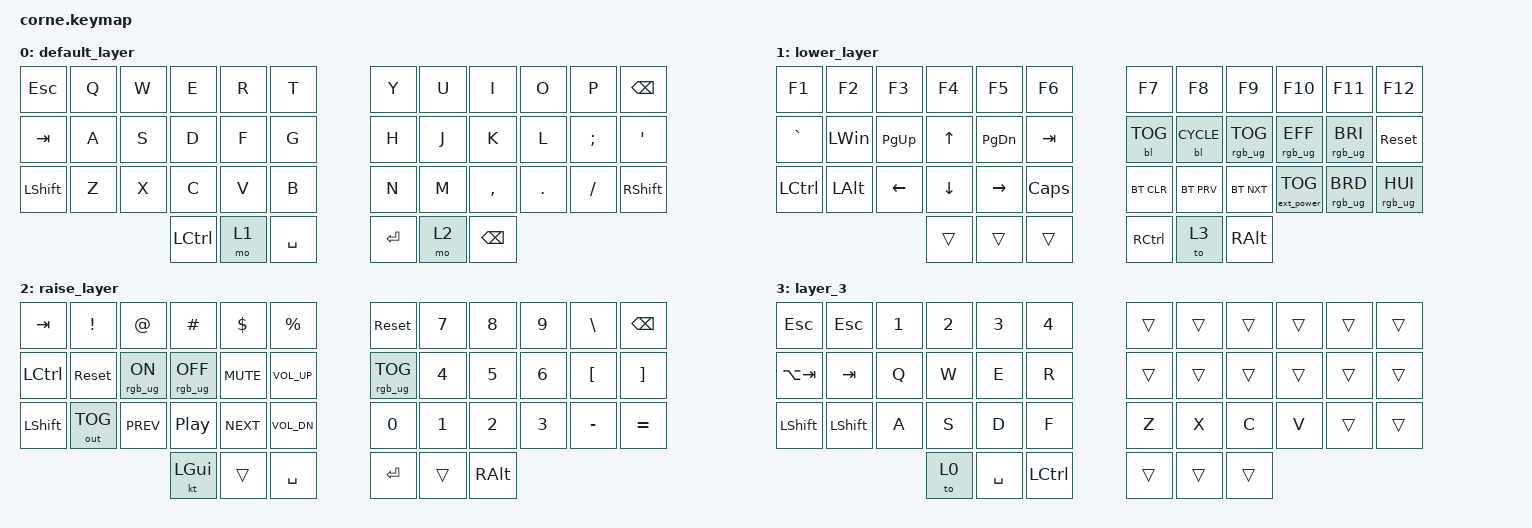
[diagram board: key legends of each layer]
/*
 * Copyright (c) 2020 The ZMK Contributors
 *
 * SPDX-License-Identifier: MIT
 */

#include <dt-bindings/led/led.h>
#include <behaviors.dtsi>
#include <dt-bindings/zmk/backlight.h>
#include <dt-bindings/zmk/bt.h>
#include <dt-bindings/zmk/ext_power.h>
#include <dt-bindings/zmk/keys.h>
#include <dt-bindings/zmk/keys.h>
#include <dt-bindings/zmk/outputs.h>
#include <dt-bindings/zmk/rgb.h>

&led_strip { chain-length = <27>; };

/ {
    keymap {
        compatible = "zmk,keymap";

        default_layer {
            // -----------------------------------------------------------------------------------------
            // |  TAB |  Q  |  W  |  E  |  R  |  T  |   |  Y  |  U   |  I  |  O  |  P  | BKSP |
            // | CTRL |  A  |  S  |  D  |  F  |  G  |   |  H  |  J   |  K  |  L  |  ;  |  '   |
            // | SHFT |  Z  |  X  |  C  |  V  |  B  |   |  N  |  M   |  ,  |  .  |  /  | ESC  |
            //                    | GUI | LWR | SPC |   | ENT | RSE  | ALT |

            bindings = <
&kp ESCAPE  &kp Q  &kp W  &kp E      &kp R  &kp T        &kp Y    &kp U  &kp I          &kp O    &kp P     &kp BSPC
&kp TAB     &kp A  &kp S  &kp D      &kp F  &kp G        &kp H    &kp J  &kp K          &kp L    &kp SEMI  &kp SQT
&kp LSHFT   &kp Z  &kp X  &kp C      &kp V  &kp B        &kp N    &kp M  &kp COMMA      &kp DOT  &kp FSLH  &kp RSHFT
                          &kp LCTRL  &mo 1  &kp SPACE    &kp RET  &mo 2  &kp BACKSPACE
            >;
        };

        lower_layer {
            // -----------------------------------------------------------------------------------------
            // |  TAB |  1  |  2  |  3  |  4  |  5  |   |  6  |  7  |  8  |  9  |  0  | BKSP |
            // | BTCLR| BT1 | BT2 | BT3 | BT4 | BT5 |   | LFT | DWN |  UP | RGT |     |      |
            // | SHFT |     |     |     |     |     |   |     |     |     |     |     |      |
            //                    | GUI |     | SPC |   | ENT |     | ALT |

            bindings = <
&kp F1     &kp F2        &kp F3          &kp F4          &kp F5           &kp F6          &kp F7      &kp F8        &kp F9           &kp F10            &kp F11          &kp F12
&kp GRAVE  &kp LEFT_WIN  &kp PAGE_UP     &kp UP_ARROW    &kp PAGE_DOWN    &kp TAB         &bl BL_TOG  &bl BL_CYCLE  &rgb_ug RGB_TOG  &rgb_ug RGB_EFF    &rgb_ug RGB_BRI  &sys_reset
&kp LCTRL  &kp LEFT_ALT  &kp LEFT_ARROW  &kp DOWN_ARROW  &kp RIGHT_ARROW  &kp CAPSLOCK    &bt BT_CLR  &bt BT_PRV    &bt BT_NXT       &ext_power EP_TOG  &rgb_ug RGB_BRD  &rgb_ug RGB_HUI
                                         &trans          &trans           &trans          &kp RCTRL   &to 3         &kp RALT
            >;
        };

        raise_layer {
            // -----------------------------------------------------------------------------------------
            // |  TAB |  !  |  @  |  #  |  $  |  %  |   |  ^  |  &  |  *  |  (  |  )  | BKSP |
            // | CTRL |     |     |     |     |     |   |  -  |  =  |  [  |  ]  |  \  |  `   |
            // | SHFT |     |     |     |     |     |   |  _  |  +  |  {  |  }  | "|" |  ~   |
            //                    | GUI |     | SPC |   | ENT |     | ALT |

            bindings = <
&kp TAB    &kp EXCL      &kp AT          &kp HASH          &kp DLLR    &kp PRCNT          &sys_reset       &kp N7        &kp N8        &kp N9        &kp BACKSLASH     &kp BSPC
&kp LCTRL  &sys_reset    &rgb_ug RGB_ON  &rgb_ug RGB_OFF   &kp C_MUTE  &kp C_VOLUME_UP    &rgb_ug RGB_TOG  &kp NUMBER_4  &kp N5        &kp NUMBER_6  &kp LEFT_BRACKET  &kp RIGHT_BRACKET
&kp LSHFT  &out OUT_TOG  &kp C_PREV      &kp C_PLAY_PAUSE  &kp C_NEXT  &kp C_VOL_DN       &kp NUMBER_0     &kp NUMBER_1  &kp NUMBER_2  &kp NUMBER_3  &kp MINUS         &kp EQUAL
                                         &kt LGUI          &trans      &kp SPACE          &kp RET          &trans        &kp RALT
            >;
        };

        layer_3 {
            bindings = <
&kp ESC      &kp ESC    &kp NUMBER_1  &kp NUMBER_2  &kp NUMBER_3  &kp NUMBER_4    &trans  &trans  &trans  &trans  &trans  &trans
&kp LA(TAB)  &kp TAB    &kp Q         &kp W         &kp E         &kp R           &trans  &trans  &trans  &trans  &trans  &trans
&kp LSHFT    &kp LSHFT  &kp A         &kp S         &kp D         &kp F           &kp Z   &kp X   &kp C   &kp V   &trans  &trans
                                      &to 0         &kp SPACE     &kp LCTRL       &trans  &trans  &trans
            >;
        };
    };
};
